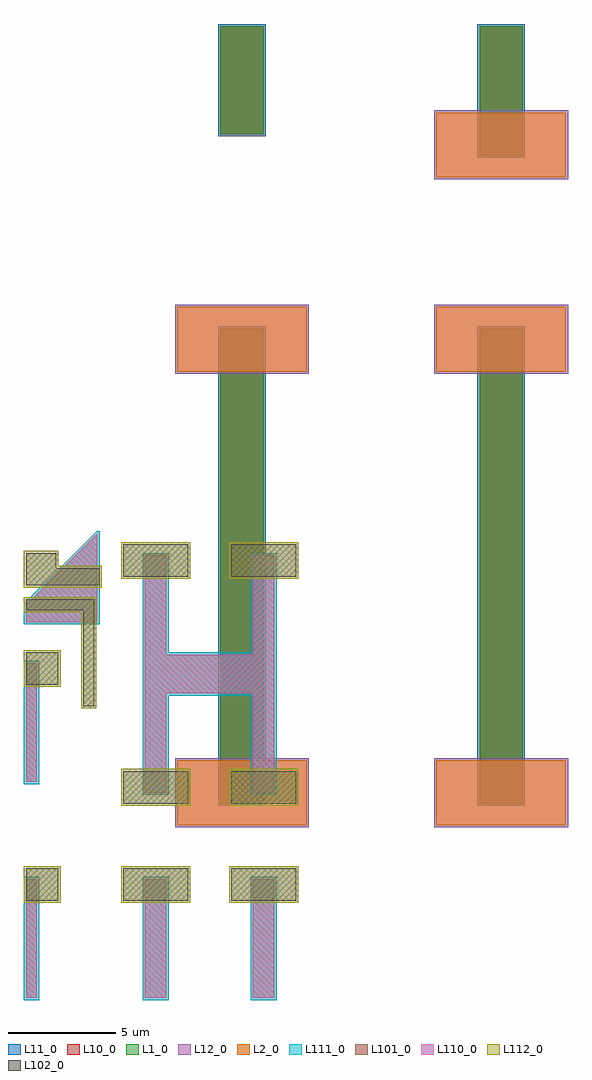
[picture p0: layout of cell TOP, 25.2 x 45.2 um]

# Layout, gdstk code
from math import pi, radians
import gdstk
lib = gdstk.Library(unit=1e-6, precision=1e-09)
def R(c, l, rs):  # rectangles x0, y0, x1, y1
    for r in rs: c.add(gdstk.rectangle(r[:2], r[2:], *l))
def P(c, l, *ps):  # polygons
    for p in ps: c.add(gdstk.Polygon(p, *l))
L1_0 = (1, 0)
L2_0 = (2, 0)
L10_0 = (10, 0)
L11_0 = (11, 0)
L12_0 = (12, 0)
L101_0 = (101, 0)
L102_0 = (102, 0)
L110_0 = (110, 0)
L111_0 = (111, 0)
L112_0 = (112, 0)

part = lib.new_cell('PART')
R(part, L1_0, [(0,0,1,5.5)])
R(part, L2_0, [(-1,4.5,2,6)])
R(part, L12_0, [(-1.05,4.45,2.05,6.05)])

child = lib.new_cell('CHILD')
R(child, L10_0, [(-0.5,-5.5,0.5,5.5)])
R(child, L11_0, [(-0.55,-5.55,0.55,5.55)])
child.add(gdstk.Reference(part, (-0.5,0)))
child.add(gdstk.Reference(part, (0.5,0), rotation=pi))

child_clip_var = lib.new_cell('CHILD$CLIP_VAR')
R(child_clip_var, L10_0, [(-0.5,-5.5,0.5,5.5)])
R(child_clip_var, L11_0, [(-0.55,-5.55,0.55,5.55)])
child_clip_var.add(gdstk.Reference(part, (-0.5,0)))
child_clip_var.add(gdstk.Reference(part, (0.5,0), rotation=pi))

part_clip_var = lib.new_cell('PART$CLIP_VAR')
R(part_clip_var, L1_0, [(0,2.5,1,5.5)])
R(part_clip_var, L2_0, [(-1,4.5,2,6)])
R(part_clip_var, L10_0, [(0,2.5,1,5.5)])
R(part_clip_var, L11_0, [(-0.05,2.45,1.05,5.55)])
R(part_clip_var, L12_0, [(-1.05,4.45,2.05,6.05)])

child_clip_var_1 = lib.new_cell('CHILD$CLIP_VAR$1')
child_clip_var_1.add(gdstk.Reference(part_clip_var, (0.5,0), rotation=pi))

part_clip_var_1 = lib.new_cell('PART$CLIP_VAR$1')
R(part_clip_var_1, L1_0, [(0,0,1,2.5)])
R(part_clip_var_1, L10_0, [(0,0,1,2.5)])
R(part_clip_var_1, L11_0, [(-0.05,-0.05,1.05,2.55)])

part_clip_var_2 = lib.new_cell('PART$CLIP_VAR$2')
R(part_clip_var_2, L101_0, [(0.5,0,1,5.5)])
R(part_clip_var_2, L102_0, [(0.5,4.5,2,6)])
R(part_clip_var_2, L110_0, [(0.5,0,1,5.5)])
R(part_clip_var_2, L111_0, [(0.4,-0.1,1.1,5.6)])
R(part_clip_var_2, L112_0, [(0.4,4.4,2.1,6.1)])

child_clip_var_2 = lib.new_cell('CHILD$CLIP_VAR$2')
child_clip_var_2.add(gdstk.Reference(part_clip_var_2, (-0.5,0)))

part_1 = lib.new_cell('PART$1')
R(part_1, L101_0, [(0,0,1,5.5)])
R(part_1, L102_0, [(-1,4.5,2,6)])
R(part_1, L112_0, [(-1.1,4.4,2.1,6.1)])

child_clip_var_1_1 = lib.new_cell('CHILD$CLIP_VAR$1$1')
R(child_clip_var_1_1, L110_0, [(-0.5,0,0.5,5.5)])
R(child_clip_var_1_1, L111_0, [(-0.6,-0.1,0.6,5.6)])
child_clip_var_1_1.add(gdstk.Reference(part_1, (-0.5,0)))

child_clip_var_2_1 = lib.new_cell('CHILD$CLIP_VAR$2$1')
child_clip_var_2_1.add(gdstk.Reference(part_1, (-0.5,0)))
child_clip_var_2_1.add(gdstk.Reference(part_1, (0.5,0), rotation=pi))

top = lib.new_cell('TOP')
R(top, L101_0, [(5.8,14.1,11.1,15.9)])
P(top, L101_0, [(0,17.4),(0,18.2),(3.3,21.5),(3.3,17.4)])
R(top, L102_0, [(2.65,13.5,3.15,17.95), (0,17.95,3.15,18.45)])
P(top, L102_0, [(0,19.1),(0,20.6),(1.4,20.6),(1.4,19.9),(3.4,19.9),(3.4,19.1)])
P(top, L110_0, [(0,17.4),(0,18.2),(3.3,21.5),(3.3,17.4)],
  [(5.5,9.5),(5.5,20.5),(6.5,20.5),(6.5,15.9),(10.5,15.9),(10.5,20.5),(11.5,20.5),(11.5,9.5),(10.5,9.5),(10.5,14.1),(6.5,14.1),(6.5,9.5)])
P(top, L111_0, [(-0.1,17.3),(-0.1,18.242),(3.3,21.642),(3.4,21.6),(3.4,17.3)],
  [(5.4,9.4),(5.4,20.6),(6.6,20.6),(6.6,16),(10.4,16),(10.4,20.6),(11.6,20.6),(11.6,9.4),(10.4,9.4),(10.4,14),(6.6,14),(6.6,9.4)])
R(top, L112_0, [(2.55,13.4,3.25,17.85), (-0.1,17.85,3.25,18.55)])
P(top, L112_0, [(-0.1,19),(-0.1,20.7),(1.5,20.7),(1.5,20),(3.5,20),(3.5,19)])
top.add(gdstk.Reference(child, (10,20), magnification=2))
top.add(gdstk.Reference(child_clip_var, (22,20), magnification=2))
top.add(gdstk.Reference(child_clip_var_1, (22,50), magnification=2))
top.add(gdstk.Reference(part_clip_var_1, (9,40), magnification=2))
top.add(gdstk.Reference(child_clip_var_2, (0,0)))
top.add(gdstk.Reference(part_clip_var_2, (-0.5,10)))
top.add(gdstk.Reference(child_clip_var_1_1, (6,0)))
top.add(gdstk.Reference(child_clip_var_1_1, (11,0)))
top.add(gdstk.Reference(child_clip_var_2_1, (6,15)))
top.add(gdstk.Reference(child_clip_var_2_1, (11,15)))

lib.write_gds('TOP.gds')
